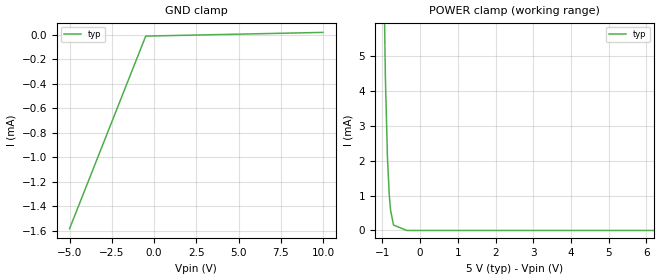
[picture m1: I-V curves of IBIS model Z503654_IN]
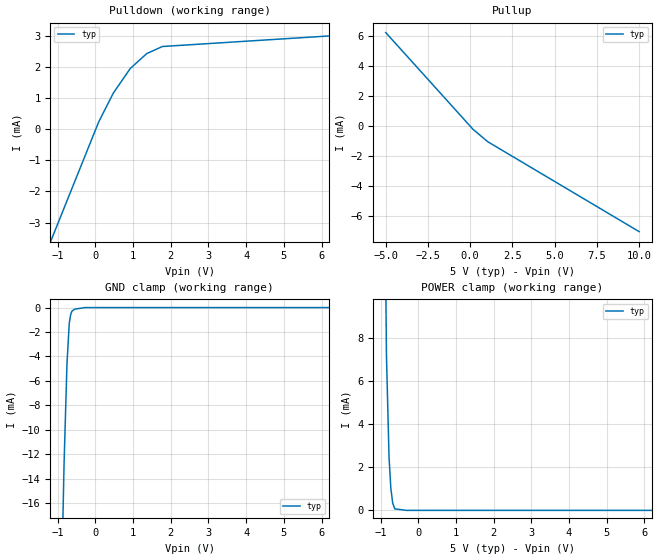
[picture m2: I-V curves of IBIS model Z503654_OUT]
| YOU ARE ONLY AUTHORIZED TO USE THIS SOFTWARE
| ACCORDING TO LICENSOR'S LICENSE RESTRICTIONS.
[IBIS Ver] 3.1
[File Name] mc14536bcp.ibs
[File Rev] 2.0
[Source] Measured and created by ICX Technology
[Date] Friday 7/14/00 9:07:56 AM
[Copyright]
| (C) COPYRIGHT 1993-2000
| MENTOR GRAPHICS CORPORATION
| ICX STANDARD LIBRARY, ICX PROJECT MODELING,
| ICX CUSTOM MODELING, ICX VENDOR MODEL
| ALL RIGHTS RESERVED.
| THE FOLLOWING ARE TRADEMARKS OR SERVICE MARKS OF
| MENTOR GRAPHICS CORPORATION:ICX (R), ICX STANDARD
| LIBRARY(R), ICX PROJECT MODELING(R), ICX CUSTOM
| MODELING(R), qualityIBIS(TM), MODELVIEWER(TM),
| AND MODELEDITOR(TM)
| ALL COPIES OF SOFTWARE, INCLUDING BUT NOT LIMITED TO
| ANY MODIFICATIONS, ENHANCEMENTS OR DERIVATIVE WORKS,
| MUST CONTAIN ALL MENTOR GRAPHICS CORPORATION'S
| NOTICES AND LEGENDS, INCLUDING THOSE EMBEDDED IN
| SOFTWARE AND THOSE AFFIXED TO SOFTWARE MEDIUM
| AND CONTAINER, AS RECEIVED FROM MENTOR GRAPHICS
| CORPORATION.
|  ZAP Model Builder 2.7
[Component] MC14536BCP
[Manufacturer] OnSemiconductor
[Package]
| variable   typ   min   max
R_pkg  .212ohms NA NA
L_pkg  4.758nH NA NA
C_pkg  1.143pF NA NA
[Pin] signal_name  model_name  R_pin  L_pin C_pin
1 SET Z503654_IN .224 7.258n 1.578p
2 RESET Z503654_IN .216 5.258n 1.288p
3 IN1 Z503654_IN .208 3.758n .998p
4 OUT1 Z503654_OUT .2 2.758n .708p
5 OUT2 Z503654_OUT .2 2.758n .708p
6 8_BYPASS Z503654_IN .208 3.758n .998p
7 CLK_INH Z503654_IN .216 5.258n 1.288p
8 VSS POWER .224 7.258n 1.578p
9 A Z503654_IN .224 7.258n 1.578p
10 B Z503654_IN .216 5.258n 1.288p
11 C Z503654_IN .208 3.758n .998p
12 D Z503654_IN .2 2.758n .708p
13 DECODE Z503654_OUT .2 2.758n .708p
14 OSC_INH Z503654_IN .208 3.758n .998p
15 MONO_IN Z503654_IN .216 5.258n 1.288p
16 VDD POWER .224 7.258n 1.578p
| Models and submodels in the file (2): Z503654_IN (Input), Z503654_OUT (Output)
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| (C) COPYRIGHT 1993-2000
| MENTOR GRAPHICS CORPORATION
| ICX STANDARD LIBRARY, ICX PROJECT MODELING,
| ICX CUSTOM MODELING, ICX VENDOR MODEL
| ALL RIGHTS RESERVED.
| THE FOLLOWING ARE TRADEMARKS OR SERVICE MARKS OF
| MENTOR GRAPHICS CORPORATION:ICX (R), ICX STANDARD
| LIBRARY(R), ICX PROJECT MODELING(R), ICX CUSTOM
| MODELING(R), qualityIBIS(TM), MODELVIEWER(TM),
| AND MODELEDITOR(TM)
| ALL COPIES OF SOFTWARE, INCLUDING BUT NOT LIMITED TO
| ANY MODIFICATIONS, ENHANCEMENTS OR DERIVATIVE WORKS,
| MUST CONTAIN ALL MENTOR GRAPHICS CORPORATION'S
| NOTICES AND LEGENDS, INCLUDING THOSE EMBEDDED IN
| SOFTWARE AND THOSE AFFIXED TO SOFTWARE MEDIUM
| AND CONTAINER, AS RECEIVED FROM MENTOR GRAPHICS
| CORPORATION.
| Model Application Version 1.89 2/18/99.
[Model] Z503654_IN
Model_type Input
Vinl = 1.500V
Vinh = 3.500V
C_comp 4.000pF NA NA
| variable typ   min   max
[Voltage Range] 5.000V NA NA
[GND Clamp Reference] 0.000V NA NA
[POWER Clamp Reference] 5.000V NA NA
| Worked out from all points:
|   POWER clamp passes 1 mA (typ) near -0.82 V on its own axis
[GND Clamp]
-5V       -1.583mA   NA         NA
-493mV    -12.25uA   NA         NA
10V       17.87uA    NA         NA
[POWER Clamp]
-5V       443.3mA    NA         NA
-1.015V   11.24mA    NA         NA
-923mV    4.398mA    NA         NA
-868mV    2.101mA    NA         NA
-820mV    1.021mA    NA         NA
-785mV    581uA      NA         NA
-707mV    155.2uA    NA         NA
-353.5mV  0A         NA         NA
10V       0A         NA         NA
| (C) COPYRIGHT 1993-2000
| MENTOR GRAPHICS CORPORATION
| ICX STANDARD LIBRARY, ICX PROJECT MODELING,
| ICX CUSTOM MODELING, ICX VENDOR MODEL
| ALL RIGHTS RESERVED.
| THE FOLLOWING ARE TRADEMARKS OR SERVICE MARKS OF
| MENTOR GRAPHICS CORPORATION:ICX (R), ICX STANDARD
| LIBRARY(R), ICX PROJECT MODELING(R), ICX CUSTOM
| MODELING(R), qualityIBIS(TM), MODELVIEWER(TM),
| AND MODELEDITOR(TM)
| ALL COPIES OF SOFTWARE, INCLUDING BUT NOT LIMITED TO
| ANY MODIFICATIONS, ENHANCEMENTS OR DERIVATIVE WORKS,
| MUST CONTAIN ALL MENTOR GRAPHICS CORPORATION'S
| NOTICES AND LEGENDS, INCLUDING THOSE EMBEDDED IN
| SOFTWARE AND THOSE AFFIXED TO SOFTWARE MEDIUM
| AND CONTAINER, AS RECEIVED FROM MENTOR GRAPHICS
| CORPORATION.
| Model Application Version 1.89 2/18/99.
[Model] Z503654_OUT
Model_type Output
Vref=0.000V
Rref=500.0Mohms
Cref=50.00pF
Vmeas=2.500V
C_comp 8.000pF NA NA
| variable typ   min   max
[Voltage Range] 5.000V NA NA
[POWER Clamp Reference] 5.000V NA NA
[Pullup Reference] 5.000V NA NA
[Pulldown Reference] 0.000V NA NA
[GND Clamp Reference] 0.000V NA NA
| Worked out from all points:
|   slope of the pulldown table from 0 to 0.75 V, typ, clamps not added: 448 ohm
|   slope of the pullup table from 0 to 0.75 V, typ, clamps not added: 988 ohm
|   GND clamp passes 1 mA (typ) near -0.68 V on its own axis
|   POWER clamp passes 1 mA (typ) near -0.73 V on its own axis
[GND Clamp]
-5V       -627.2mA   NA         NA
-833.9mV  -12.77mA   NA         NA
-757mV    -4.61mA    NA         NA
-695.6mV  -1.263mA   NA         NA
-659.3mV  -581.6uA   NA         NA
-625mV    -293.2uA   NA         NA
-551.5mV  -125.4uA   NA         NA
-275.8mV  0A         NA         NA
10V       0A         NA         NA
[Pulldown]
-5V       -15.12mA   NA         NA
84.95mV   241.7uA    NA         NA
474.1mV   1.174mA    NA         NA
923mV     1.964mA    NA         NA
1.362V    2.447mA    NA         NA
1.778V    2.674mA    NA         NA
10V       3.306mA    NA         NA
[Pullup]
-5V       6.198mA    NA         NA
166mV     -223.9uA   NA         NA
1.034V    -1.045mA   NA         NA
10V       -7.016mA   NA         NA
[POWER Clamp]
-5V       790.3mA    NA         NA
-845mV    7.243mA    NA         NA
-776mV    2.47mA     NA         NA
-728mV    1.027mA    NA         NA
-678mV    329.8uA    NA         NA
-623mV    68.45uA    NA         NA
-311.5mV  0A         NA         NA
10V       0A         NA         NA
[Ramp]
| variable typ min max
dV/dt_r 2.072/22.96n NA NA
dV/dt_f 2.072/24.37n NA NA
R_load = 2.500kOhms
